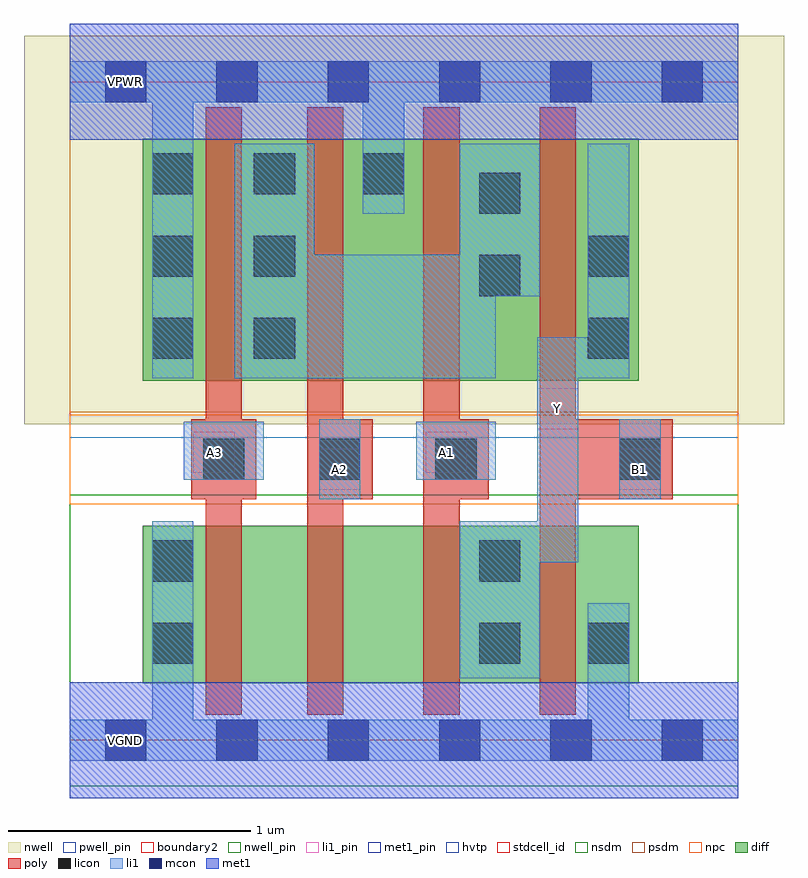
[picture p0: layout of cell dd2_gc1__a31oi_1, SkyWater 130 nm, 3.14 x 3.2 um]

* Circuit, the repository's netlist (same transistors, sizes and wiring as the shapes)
.subckt dd2_gc1__a31oi_1 A1 A2 A3 B1 VGND VNB VPB VPWR Y
X0 Y B1 VGND VNB sky130_fd_pr__nfet_01v8 w=0.65 l=0.15
X1 Y A1 n1 VNB sky130_fd_pr__nfet_01v8 w=0.65 l=0.15
X2 n1 A2 n2 VNB sky130_fd_pr__nfet_01v8 w=0.65 l=0.15
X3 n2 A3 VGND VNB sky130_fd_pr__nfet_01v8 w=0.65 l=0.15
X4 Y B1 p1 VPB sky130_fd_pr__pfet_01v8_hvt w=1 l=0.15
X5 p1 A1 VPWR VPB sky130_fd_pr__pfet_01v8_hvt w=1 l=0.15
X6 p1 A2 VPWR VPB sky130_fd_pr__pfet_01v8_hvt w=1 l=0.15
X7 p1 A3 VPWR VPB sky130_fd_pr__pfet_01v8_hvt w=1 l=0.15
.ends

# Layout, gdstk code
import gdstk
lib = gdstk.Library(unit=1e-6, precision=1e-09)
def R(c, l, rs):  # rectangles x0, y0, x1, y1
    for r in rs: c.add(gdstk.rectangle(r[:2], r[2:], *l))
def A(c, l, x, y, w, h, nx, ny, dx, dy):  # array of equal rectangles
    R(c, l, [(x+i*dx, y+j*dy, x+i*dx+w, y+j*dy+h) for i in range(nx) for j in range(ny)])
nwell_pin = (64, 16)
nwell = (64, 20)
diff = (65, 20)
poly = (66, 20)
licon = (66, 44)
li1_pin = (67, 16)
li1 = (67, 20)
mcon = (67, 44)
met1_pin = (68, 16)
met1 = (68, 20)
hvtp = (78, 44)
stdcell_id = (81, 4)
nsdm = (93, 44)
psdm = (94, 20)
npc = (95, 20)
pwell_pin = (122, 16)
boundary2 = (236, 0)

dd2_gc1__a31oi_1 = lib.new_cell('dd2_gc1__a31oi_1')
R(dd2_gc1__a31oi_1, nwell_pin, [(0.145,2.635,0.315,2.805)])
R(dd2_gc1__a31oi_1, nwell, [(-0.19,1.305,2.95,2.91)])
R(dd2_gc1__a31oi_1, diff, [(0.3,0.235,2.35,0.885), (0.3,1.485,2.35,2.485)])
A(dd2_gc1__a31oi_1, poly, 0.98, 0.105, 0.15, 2.51, 3, 1, 0.48, 0)
A(dd2_gc1__a31oi_1, poly, 0.5, 0.995, 0.27, 0.33, 3, 1, 0.48, 0)
R(dd2_gc1__a31oi_1, poly, [(0.56,0.105,0.71,2.615), (1.94,0.995,2.49,1.325)])
A(dd2_gc1__a31oi_1, licon, 0.55, 1.075, 0.17, 0.17, 3, 1, 0.48, 0)
A(dd2_gc1__a31oi_1, licon, 0.34, 1.575, 0.17, 0.17, 1, 3, 0, 0.34)
A(dd2_gc1__a31oi_1, licon, 0.76, 1.575, 0.17, 0.17, 1, 3, 0, 0.34)
R(dd2_gc1__a31oi_1, licon, [(0.34,0.315,0.51,0.485), (1.69,0.315,1.86,0.485), (2.14,0.315,2.31,0.485), (0.34,0.655,0.51,0.825), (1.69,0.655,1.86,0.825), (2.27,1.075,2.44,1.245), (2.14,1.575,2.31,1.745), (1.69,1.835,1.86,2.005), (2.14,1.915,2.31,2.085), (1.69,2.175,1.86,2.345), (1.21,2.255,1.38,2.425)])
R(dd2_gc1__a31oi_1, li1_pin, [(1.03,1.035,1.2,1.205), (2.27,1.035,2.44,1.205), (0.51,1.105,0.68,1.275), (1.47,1.105,1.64,1.275), (1.93,1.285,2.1,1.455)])
R(dd2_gc1__a31oi_1, li1, [(0,-0.085,2.76,0.085), (0.34,-0.085,0.51,0.905), (2.14,-0.085,2.31,0.565), (1.61,0.255,1.94,0.905), (1.61,0.735,2.1,0.905), (1.93,0.895,2.1,1.505), (1.03,0.995,1.2,1.325), (2.27,0.995,2.44,1.325), (0.47,1.075,0.8,1.315), (1.43,1.075,1.76,1.315), (0.34,1.495,0.51,2.805), (0.68,1.495,1.01,2.465), (0.68,1.495,1.76,2.005), (1.93,1.495,2.31,1.665), (2.14,1.495,2.31,2.465), (1.61,1.835,1.94,2.465), (1.21,2.175,1.38,2.805), (0,2.635,2.76,2.805)])
A(dd2_gc1__a31oi_1, mcon, 0.145, -0.085, 0.17, 0.17, 6, 2, 0.46, 2.72)
R(dd2_gc1__a31oi_1, met1_pin, [(0.145,-0.085,0.315,0.085), (0.145,2.635,0.315,2.805)])
R(dd2_gc1__a31oi_1, met1, [(0,-0.24,2.76,0.24), (0,2.48,2.76,2.96)])
R(dd2_gc1__a31oi_1, hvtp, [(0,1.25,2.76,2.72)])
R(dd2_gc1__a31oi_1, stdcell_id, [(0,0,2.76,2.72)])
R(dd2_gc1__a31oi_1, nsdm, [(0,-0.19,2.76,1.015)])
R(dd2_gc1__a31oi_1, psdm, [(0,1.355,2.76,2.91)])
R(dd2_gc1__a31oi_1, npc, [(0,0.975,2.76,1.345)])
R(dd2_gc1__a31oi_1, pwell_pin, [(0.145,-0.085,0.315,0.085)])
R(dd2_gc1__a31oi_1, boundary2, [(0,0,2.76,2.72)])
dd2_gc1__a31oi_1.add(gdstk.Label('A3', (0.595,1.19), layer=67, texttype=5))
dd2_gc1__a31oi_1.add(gdstk.Label('A2', (1.115,1.12), layer=67, texttype=5))
dd2_gc1__a31oi_1.add(gdstk.Label('A1', (1.555,1.19), layer=67, texttype=5))
dd2_gc1__a31oi_1.add(gdstk.Label('B1', (2.355,1.12), layer=67, texttype=5))
dd2_gc1__a31oi_1.add(gdstk.Label('Y', (2.015,1.37), layer=67, texttype=5))
dd2_gc1__a31oi_1.add(gdstk.Label('VGND', (0.23,0), layer=68, texttype=5))
dd2_gc1__a31oi_1.add(gdstk.Label('VPWR', (0.23,2.72), layer=68, texttype=5))
dd2_gc1__a31oi_1.add(gdstk.Label('VPB', (0.23,2.72), layer=64, texttype=5))
dd2_gc1__a31oi_1.add(gdstk.Label('VNB', (0.23,0), layer=64, texttype=59))

lib.write_gds('dd2_gc1__a31oi_1.gds')
